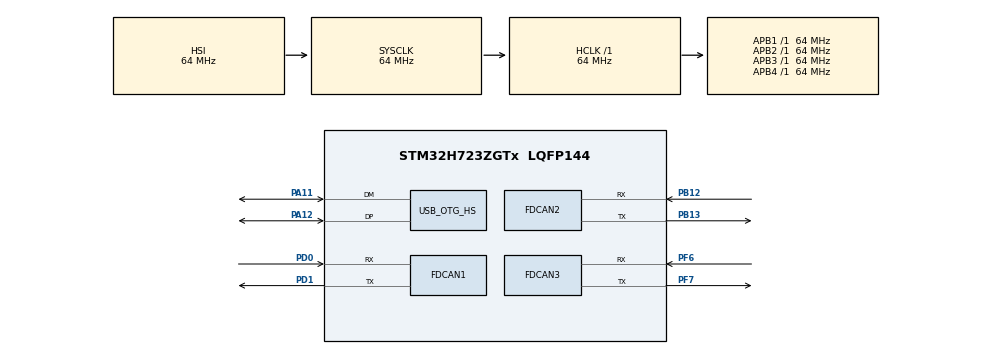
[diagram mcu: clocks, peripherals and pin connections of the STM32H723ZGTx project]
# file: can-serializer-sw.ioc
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CORTEX_M7.default_mode_Activation=1
FDCAN1.CalculateBaudRateNominal=2666666
FDCAN1.CalculateTimeBitNominal=375
FDCAN1.CalculateTimeQuantumNominal=125.0
FDCAN1.FrameFormat=FDCAN_FRAME_FD_BRS
FDCAN2.CalculateBaudRateNominal=2666666
FDCAN2.CalculateTimeBitNominal=375
FDCAN2.CalculateTimeQuantumNominal=125.0
FDCAN2.FrameFormat=FDCAN_FRAME_FD_BRS
FDCAN3.CalculateBaudRateNominal=2666666
FDCAN3.CalculateTimeBitNominal=375
FDCAN3.CalculateTimeQuantumNominal=125.0
FDCAN3.FrameFormat=FDCAN_FRAME_FD_BRS
Mcu.Family=STM32H7
Mcu.Name=STM32H723ZGTx
Mcu.Package=LQFP144
NVIC.OTG_HS_IRQn=true\:0\:0\:false\:false\:true\:true\:true\:true
NVIC.PriorityGroup=NVIC_PRIORITYGROUP_4
PA11.Mode=Device_Only_FS
PA11.Signal=USB_OTG_HS_DM
PA12.Mode=Device_Only_FS
PA12.Signal=USB_OTG_HS_DP
PB12.Mode=FDCAN_Activate
PB12.Signal=FDCAN2_RX
PB13.Mode=FDCAN_Activate
PB13.Signal=FDCAN2_TX
PD0.Mode=FDCAN_Activate
PD0.Signal=FDCAN1_RX
PD1.Mode=FDCAN_Activate
PD1.Signal=FDCAN1_TX
PF6.Mode=FDCAN_Activate
PF6.Signal=FDCAN3_RX
PF7.Mode=FDCAN_Activate
PF7.Signal=FDCAN3_TX
ProjectManager.HeapSize=0x200
ProjectManager.StackSize=0x400
ProjectManager.TargetToolchain=Makefile
RCC.ADCFreq_Value=128000000
RCC.APB1Freq_Value=64000000
RCC.APB2Freq_Value=64000000
RCC.APB3Freq_Value=64000000
RCC.APB4Freq_Value=64000000
RCC.CortexFreq_Value=64000000
RCC.DIVN1=128
RCC.DIVN2=128
RCC.DIVN3=128
RCC.HCLKFreq_Value=64000000
RCC.SYSCLKFreq_VALUE=64000000
RCC.USBCLockSelection=RCC_USBCLKSOURCE_HSI48
RCC.USBFreq_Value=48000000
USB_OTG_HS.VirtualMode-Device_Only_FS=Device_Only_FS
VP_MEMORYMAP_VS_MEMORYMAP.Mode=CurAppReg
board=custom

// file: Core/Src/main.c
/* USER CODE BEGIN Header */
/**
  ******************************************************************************
  * @file           : main.c
  * @brief          : Main program body
  ******************************************************************************
  * @attention
  *
  * Copyright (c) 2026 STMicroelectronics.
  * All rights reserved.
  *
  * This software is licensed under terms that can be found in the LICENSE file
  * in the root directory of this software component.
  * If no LICENSE file comes with this software, it is provided AS-IS.
  *
  ******************************************************************************
  */
/* USER CODE END Header */
#include "main.h"
#include "fdcan.h"
#include "usb_otg.h"
#include "gpio.h"

/* USER CODE BEGIN Includes */

#include "tusb.h"
#include "gs_usb_fdcan.h"
#include "gs_usb_core.h"
#include "gs_usb_tinyusb.h"

/* USER CODE END Includes */

/* USER CODE BEGIN PV */

static struct GsUsbFdcanPort fdcan_port = {
    .channels = {
        [FDCAN_PORT_CHANNEL_PRIMARY] = { .hfdcan = &hfdcan1, .message_ram_offset = 0 },
        [FDCAN_PORT_CHANNEL_SECONDARY] = { .hfdcan = &hfdcan2, .message_ram_offset = 680 },
        [FDCAN_PORT_CHANNEL_INVERTER] = { .hfdcan = &hfdcan3, .message_ram_offset = 1360 },
    }
};

static struct GsCore core;

/* USER CODE END PV */

void SystemClock_Config(void);
static void MPU_Config(void);

int main(void) {

    /* MPU Configuration--------------------------------------------------------*/
    MPU_Config();

    /* MCU Configuration--------------------------------------------------------*/

    /* Reset of all peripherals, Initializes the Flash interface and the Systick. */
    HAL_Init();

    /* Configure the system clock */
    SystemClock_Config();

    /* Initialize all configured peripherals */
    MX_GPIO_Init();
    MX_FDCAN1_Init();
    MX_FDCAN2_Init();
    MX_FDCAN3_Init();
    MX_USB_OTG_HS_PCD_Init();
    /* USER CODE BEGIN 2 */

    const struct GsCanCapabilities capabilities = fdcan_get_capabilities();
    gs_core_initialize(&core, &capabilities, fdcan_get_operations(), &fdcan_port, gs_tinyusb_get_operations(), NULL);
    gs_tinyusb_initialize(&core);
    tusb_init();

    /* USER CODE END 2 */

    /* Infinite loop */
    /* USER CODE BEGIN WHILE */
    while (1) {
        gs_tinyusb_task();

        /* USER CODE END WHILE */

    }
}

void SystemClock_Config(void) {
    RCC_OscInitTypeDef RCC_OscInitStruct = { 0 };
    RCC_ClkInitTypeDef RCC_ClkInitStruct = { 0 };

    /** Supply configuration update enable
  */
    HAL_PWREx_ConfigSupply(PWR_LDO_SUPPLY);

    /** Configure the main internal regulator output voltage
  */
    __HAL_PWR_VOLTAGESCALING_CONFIG(PWR_REGULATOR_VOLTAGE_SCALE3);

    while (!__HAL_PWR_GET_FLAG(PWR_FLAG_VOSRDY)) {
    }

    /** Initializes the RCC Oscillators according to the specified parameters
  * in the RCC_OscInitTypeDef structure.
  */
    RCC_OscInitStruct.OscillatorType = RCC_OSCILLATORTYPE_HSI48 | RCC_OSCILLATORTYPE_HSI;
    RCC_OscInitStruct.HSIState = RCC_HSI_DIV1;
    RCC_OscInitStruct.HSICalibrationValue = 64;
    RCC_OscInitStruct.HSI48State = RCC_HSI48_ON;
    RCC_OscInitStruct.PLL.PLLState = RCC_PLL_ON;
    RCC_OscInitStruct.PLL.PLLSource = RCC_PLLSOURCE_HSI;
    RCC_OscInitStruct.PLL.PLLM = 32;
    RCC_OscInitStruct.PLL.PLLN = 128;
    RCC_OscInitStruct.PLL.PLLP = 2;
    RCC_OscInitStruct.PLL.PLLQ = 2;
    RCC_OscInitStruct.PLL.PLLR = 2;
    RCC_OscInitStruct.PLL.PLLRGE = RCC_PLL1VCIRANGE_1;
    RCC_OscInitStruct.PLL.PLLVCOSEL = RCC_PLL1VCOWIDE;
    RCC_OscInitStruct.PLL.PLLFRACN = 0;
    if (HAL_RCC_OscConfig(&RCC_OscInitStruct) != HAL_OK) {
        Error_Handler();
    }

    /** Initializes the CPU, AHB and APB buses clocks
  */
    RCC_ClkInitStruct.ClockType = RCC_CLOCKTYPE_HCLK | RCC_CLOCKTYPE_SYSCLK | RCC_CLOCKTYPE_PCLK1 | RCC_CLOCKTYPE_PCLK2 | RCC_CLOCKTYPE_D3PCLK1 | RCC_CLOCKTYPE_D1PCLK1;
    RCC_ClkInitStruct.SYSCLKSource = RCC_SYSCLKSOURCE_HSI;
    RCC_ClkInitStruct.SYSCLKDivider = RCC_SYSCLK_DIV1;
    RCC_ClkInitStruct.AHBCLKDivider = RCC_HCLK_DIV1;
    RCC_ClkInitStruct.APB3CLKDivider = RCC_APB3_DIV1;
    RCC_ClkInitStruct.APB1CLKDivider = RCC_APB1_DIV1;
    RCC_ClkInitStruct.APB2CLKDivider = RCC_APB2_DIV1;
    RCC_ClkInitStruct.APB4CLKDivider = RCC_APB4_DIV1;

    if (HAL_RCC_ClockConfig(&RCC_ClkInitStruct, FLASH_LATENCY_1) != HAL_OK) {
        Error_Handler();
    }
}

/* MPU Configuration */

void MPU_Config(void) {
    MPU_Region_InitTypeDef MPU_InitStruct = { 0 };

    /* Disables the MPU */
    HAL_MPU_Disable();

    /** Initializes and configures the Region and the memory to be protected
  */
    MPU_InitStruct.Enable = MPU_REGION_ENABLE;
    MPU_InitStruct.Number = MPU_REGION_NUMBER0;
    MPU_InitStruct.BaseAddress = 0x0;
    MPU_InitStruct.Size = MPU_REGION_SIZE_4GB;
    MPU_InitStruct.SubRegionDisable = 0x87;
    MPU_InitStruct.TypeExtField = MPU_TEX_LEVEL0;
    MPU_InitStruct.AccessPermission = MPU_REGION_NO_ACCESS;
    MPU_InitStruct.DisableExec = MPU_INSTRUCTION_ACCESS_DISABLE;
    MPU_InitStruct.IsShareable = MPU_ACCESS_SHAREABLE;
    MPU_InitStruct.IsCacheable = MPU_ACCESS_NOT_CACHEABLE;
    MPU_InitStruct.IsBufferable = MPU_ACCESS_NOT_BUFFERABLE;

    HAL_MPU_ConfigRegion(&MPU_InitStruct);
    /* Enables the MPU */
    HAL_MPU_Enable(MPU_PRIVILEGED_DEFAULT);
}

void Error_Handler(void) {
    __disable_irq();
    while (1) {
    }
}
